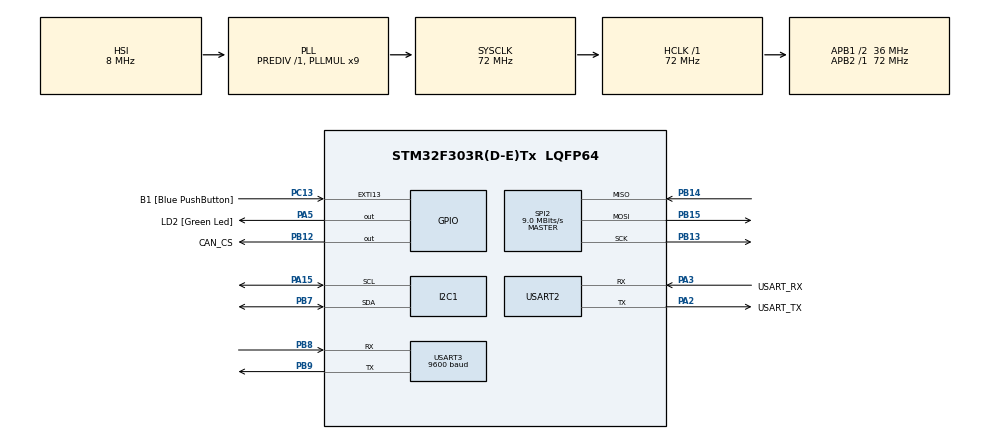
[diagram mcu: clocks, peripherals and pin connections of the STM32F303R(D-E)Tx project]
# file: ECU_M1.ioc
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Dma.I2C1_RX.0.Direction=DMA_PERIPH_TO_MEMORY
Dma.I2C1_RX.0.Instance=DMA1_Channel7
Dma.I2C1_RX.0.MemDataAlignment=DMA_MDATAALIGN_BYTE
Dma.I2C1_RX.0.MemInc=DMA_MINC_ENABLE
Dma.I2C1_RX.0.Mode=DMA_NORMAL
Dma.I2C1_RX.0.PeriphDataAlignment=DMA_PDATAALIGN_BYTE
Dma.I2C1_RX.0.PeriphInc=DMA_PINC_DISABLE
Dma.I2C1_RX.0.Priority=DMA_PRIORITY_LOW
Dma.I2C1_TX.1.Direction=DMA_MEMORY_TO_PERIPH
Dma.I2C1_TX.1.Instance=DMA1_Channel6
Dma.I2C1_TX.1.MemDataAlignment=DMA_MDATAALIGN_BYTE
Dma.I2C1_TX.1.MemInc=DMA_MINC_ENABLE
Dma.I2C1_TX.1.Mode=DMA_NORMAL
Dma.I2C1_TX.1.PeriphDataAlignment=DMA_PDATAALIGN_BYTE
Dma.I2C1_TX.1.PeriphInc=DMA_PINC_DISABLE
Dma.I2C1_TX.1.Priority=DMA_PRIORITY_LOW
Dma.Request0=I2C1_RX
Dma.Request1=I2C1_TX
FREERTOS.Tasks01=defaultTask,-3,128,StartDefaultTask,Default,NULL,Dynamic,NULL,NULL;RecepcionCAN,1,128,StartRecepcionCAN,Default,NULL,Dynamic,NULL,NULL;IMUprocess,0,128,StartIMUprocess,Default,NULL,Dynamic,NULL,NULL;UARTcom,-1,128,StartUARTcom,Default,NULL,Dynamic,NULL,NULL
FREERTOS.configUSE_NEWLIB_REENTRANT=1
Mcu.Family=STM32F3
Mcu.Name=STM32F303R(D-E)Tx
Mcu.Package=LQFP64
NVIC.DMA1_Channel6_IRQn=true\:5\:0\:false\:false\:true\:true\:false\:true\:true
NVIC.DMA1_Channel7_IRQn=true\:5\:0\:false\:false\:true\:true\:false\:true\:true
NVIC.PriorityGroup=NVIC_PRIORITYGROUP_4
NVIC.TIM1_UP_TIM16_IRQn=true\:15\:0\:false\:false\:true\:false\:false\:true\:true
NVIC.TimeBase=TIM1_UP_TIM16_IRQn
NVIC.TimeBaseIP=TIM1
PA13.GPIO_Label=TMS
PA13.Mode=Serial_Wire
PA13.Signal=SYS_JTMS-SWDIO
PA14.GPIO_Label=TCK
PA14.Mode=Serial_Wire
PA14.Signal=SYS_JTCK-SWCLK
PA15.GPIO_Pu=GPIO_PULLUP
PA15.Mode=I2C
PA15.Signal=I2C1_SCL
PA2.GPIO_Label=USART_TX
PA2.GPIO_Mode=GPIO_MODE_AF_PP
PA2.GPIO_PuPd=GPIO_NOPULL
PA2.GPIO_Speed=GPIO_SPEED_FREQ_LOW
PA2.Mode=Asynchronous
PA2.Signal=USART2_TX
PA3.GPIO_Label=USART_RX
PA3.GPIO_Mode=GPIO_MODE_AF_PP
PA3.GPIO_PuPd=GPIO_NOPULL
PA3.GPIO_Speed=GPIO_SPEED_FREQ_LOW
PA3.Mode=Asynchronous
PA3.Signal=USART2_RX
PA5.GPIO_Label=LD2 [Green Led]
PA5.GPIO_Mode=GPIO_MODE_OUTPUT_PP
PA5.GPIO_PuPd=GPIO_NOPULL
PA5.GPIO_Speed=GPIO_SPEED_FREQ_LOW
PA5.Signal=GPIO_Output
PB12.GPIO_Label=CAN_CS
PB12.PinState=GPIO_PIN_SET
PB12.Signal=GPIO_Output
PB13.Mode=Full_Duplex_Master
PB13.Signal=SPI2_SCK
PB14.GPIO_PuPd=GPIO_PULLDOWN
PB14.Mode=Full_Duplex_Master
PB14.Signal=SPI2_MISO
PB15.Mode=Full_Duplex_Master
PB15.Signal=SPI2_MOSI
PB7.GPIO_Pu=GPIO_PULLUP
PB7.Mode=I2C
PB7.Signal=I2C1_SDA
PB8.Mode=Asynchronous
PB8.Signal=USART3_RX
PB9.Mode=Asynchronous
PB9.Signal=USART3_TX
PC13.GPIO_Label=B1 [Blue PushButton]
PC13.GPIO_ModeDefaultEXTI=GPIO_MODE_IT_FALLING
PC13.Signal=GPXTI13
PF0-OSC_IN.Mode=HSE-External-Oscillator
PF0-OSC_IN.Signal=RCC_OSC_IN
PF1-OSC_OUT.Mode=HSE-External-Oscillator
PF1-OSC_OUT.Signal=RCC_OSC_OUT
ProjectManager.HeapSize=0x200
ProjectManager.StackSize=0x400
ProjectManager.TargetToolchain=STM32CubeIDE
RCC.AHBFreq_Value=72000000
RCC.APB1CLKDivider=RCC_HCLK_DIV2
RCC.APB1Freq_Value=36000000
RCC.APB1TimFreq_Value=72000000
RCC.APB2Freq_Value=72000000
RCC.APB2TimFreq_Value=72000000
RCC.CortexFreq_Value=72000000
RCC.HCLKFreq_Value=72000000
RCC.HSE_VALUE=8000000
RCC.HSI_VALUE=8000000
RCC.LSE_VALUE=32768
RCC.PLLM=8
RCC.PLLMUL=RCC_PLL_MUL9
RCC.PLLN=336
RCC.PLLP=RCC_PLLP_DIV4
RCC.PLLQ=7
RCC.RCC_PLLsource_Clock_Source_FROM_HSE=RCC_HSE_PREDIV_DIV2
RCC.SYSCLKFreq_VALUE=72000000
RCC.SYSCLKSourceVirtual=RCC_SYSCLKSOURCE_PLLCLK
RCC.USBFreq_Value=72000000
SPI2.BaudRatePrescaler=SPI_BAUDRATEPRESCALER_4
SPI2.CalculateBaudRate=9.0 MBits/s
SPI2.DataSize=SPI_DATASIZE_8BIT
SPI2.Direction=SPI_DIRECTION_2LINES
SPI2.Mode=SPI_MODE_MASTER
SPI2.VirtualType=VM_MASTER
STMicroelectronics.X-CUBE-ALGOBUILD.1.3.0.LibraryCcDSPOoLibraryJjDSPOoLibrary=true
TIM17.Period=999
USART2.VirtualMode-Asynchronous=VM_ASYNC
USART3.BaudRate=9600
USART3.VirtualMode-Asynchronous=VM_ASYNC
VP_FREERTOS_VS_CMSIS_V1.Mode=CMSIS_V1
VP_STMicroelectronics.X-CUBE-ALGOBUILD_VS_DSPOoLibraryJjLibrary_1.3.0_1.3.0.Mode=DSPOoLibraryJjLibrary
VP_SYS_VS_tim1.Mode=TIM1
VP_TIM17_VS_ClockSourceINT.Mode=Enable_Timer
board=NUCLEO-F303RE

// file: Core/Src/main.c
/* USER CODE BEGIN Header */
/**
  ******************************************************************************
  * @file           : main.c
  * @brief          : Main program body
  ******************************************************************************
  * @attention
  *
  * Copyright (c) 2023 STMicroelectronics.
  * All rights reserved.
  *
  * This software is licensed under terms that can be found in the LICENSE file
  * in the root directory of this software component.
  * If no LICENSE file comes with this software, it is provided AS-IS.
  *
  ******************************************************************************
  */
/* USER CODE END Header */
#include "main.h"
#include "cmsis_os.h"
#include "dma.h"
#include "i2c.h"
#include "spi.h"
#include "tim.h"
#include "usart.h"
#include "gpio.h"

void SystemClock_Config(void);
void MX_FREERTOS_Init(void);

int main(void)
{

  /* MCU Configuration--------------------------------------------------------*/

  /* Reset of all peripherals, Initializes the Flash interface and the Systick. */
  HAL_Init();

  /* Configure the system clock */
  SystemClock_Config();

  /* Initialize all configured peripherals */
  MX_GPIO_Init();
  MX_DMA_Init();
  MX_USART2_UART_Init();
  MX_SPI2_Init();
  MX_I2C1_Init();
  MX_TIM17_Init();
  MX_USART3_UART_Init();
  /* USER CODE BEGIN 2 */
  CANSPI_Initialize();
  BNO055_Init_I2C(&hi2c1);
  /* USER CODE END 2 */

  /* Call init function for freertos objects (in freertos.c) */
  MX_FREERTOS_Init();

  /* Start scheduler */
  osKernelStart();

  /* We should never get here as control is now taken by the scheduler */
  /* Infinite loop */
  while (1)
  {

  }
}

void SystemClock_Config(void)
{
  RCC_OscInitTypeDef RCC_OscInitStruct = {0};
  RCC_ClkInitTypeDef RCC_ClkInitStruct = {0};
  RCC_PeriphCLKInitTypeDef PeriphClkInit = {0};

  /** Initializes the RCC Oscillators according to the specified parameters
  * in the RCC_OscInitTypeDef structure.
  */
  RCC_OscInitStruct.OscillatorType = RCC_OSCILLATORTYPE_HSI;
  RCC_OscInitStruct.HSIState = RCC_HSI_ON;
  RCC_OscInitStruct.HSICalibrationValue = RCC_HSICALIBRATION_DEFAULT;
  RCC_OscInitStruct.PLL.PLLState = RCC_PLL_ON;
  RCC_OscInitStruct.PLL.PLLSource = RCC_PLLSOURCE_HSI;
  RCC_OscInitStruct.PLL.PLLMUL = RCC_PLL_MUL9;
  RCC_OscInitStruct.PLL.PREDIV = RCC_PREDIV_DIV1;
  if (HAL_RCC_OscConfig(&RCC_OscInitStruct) != HAL_OK)
  {
    Error_Handler();
  }

  /** Initializes the CPU, AHB and APB buses clocks
  */
  RCC_ClkInitStruct.ClockType = RCC_CLOCKTYPE_HCLK|RCC_CLOCKTYPE_SYSCLK
                              |RCC_CLOCKTYPE_PCLK1|RCC_CLOCKTYPE_PCLK2;
  RCC_ClkInitStruct.SYSCLKSource = RCC_SYSCLKSOURCE_PLLCLK;
  RCC_ClkInitStruct.AHBCLKDivider = RCC_SYSCLK_DIV1;
  RCC_ClkInitStruct.APB1CLKDivider = RCC_HCLK_DIV2;
  RCC_ClkInitStruct.APB2CLKDivider = RCC_HCLK_DIV1;

  if (HAL_RCC_ClockConfig(&RCC_ClkInitStruct, FLASH_LATENCY_2) != HAL_OK)
  {
    Error_Handler();
  }
  PeriphClkInit.PeriphClockSelection = RCC_PERIPHCLK_USART2|RCC_PERIPHCLK_USART3
                              |RCC_PERIPHCLK_I2C1|RCC_PERIPHCLK_TIM17;
  PeriphClkInit.Usart2ClockSelection = RCC_USART2CLKSOURCE_PCLK1;
  PeriphClkInit.Usart3ClockSelection = RCC_USART3CLKSOURCE_PCLK1;
  PeriphClkInit.I2c1ClockSelection = RCC_I2C1CLKSOURCE_HSI;
  PeriphClkInit.Tim17ClockSelection = RCC_TIM17CLK_HCLK;
  if (HAL_RCCEx_PeriphCLKConfig(&PeriphClkInit) != HAL_OK)
  {
    Error_Handler();
  }
}

void HAL_TIM_PeriodElapsedCallback(TIM_HandleTypeDef *htim)
{
  if (htim->Instance == TIM1) {
    HAL_IncTick();
  }
}

void Error_Handler(void)
{
  __disable_irq();
  while (1)
  {
  }
}

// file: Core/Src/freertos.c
/* USER CODE BEGIN Header */
/**
  ******************************************************************************
  * File Name          : freertos.c
  * Description        : Code for freertos applications
  ******************************************************************************
  * @attention
  *
  * Copyright (c) 2023 STMicroelectronics.
  * All rights reserved.
  *
  * This software is licensed under terms that can be found in the LICENSE file
  * in the root directory of this software component.
  * If no LICENSE file comes with this software, it is provided AS-IS.
  *
  ******************************************************************************
  */
/* USER CODE END Header */

#include "FreeRTOS.h"
#include "task.h"
#include "main.h"
#include "cmsis_os.h"

/* USER CODE BEGIN Includes */
#include "usart.h"
#include "i2c.h"
#include "arm_math.h"
/* USER CODE END Includes */

/* USER CODE BEGIN PD */
#define SAMPLE_TIME 0.01
#define NUM_TAPS 21
#define BLOCK_SIZE 32
/* USER CODE END PD */

/* USER CODE BEGIN Variables */
uCAN_MSG txMessage;
uCAN_MSG rxMessage;

char message[100];
uint8_t	imu_readings[IMU_NUMBER_OF_BYTES];
int16_t 	accel_data[3];
float		acc_x, acc_y, acc_z;
int		acc_x_int, acc_y_int, acc_z_int;

const float32_t firCoeffs[NUM_TAPS] = {
    -0.0162988415008265,
    -0.0709271864972703,
    0.0225851291371347,
    0.0371278894358235,
    -0.0134217682863348,
    -0.0589846533854996,
    0.0145099553645701,
    0.103203330310147,
    -0.0148779327102912,
    -0.317339878494921,
    0.515006915991497,
    -0.317339878494921,
    -0.0148779327102912,
    0.103203330310147,
    0.0145099553645701,
    -0.0589846533854996,
    -0.0134217682863348,
    0.0371278894358235,
    0.0225851291371347,
    -0.0709271864972703,
    -0.0162988415008265
};
float32_t firState[NUM_TAPS + BLOCK_SIZE - 1];  // Filter state buffer
arm_fir_instance_f32 FIR_Filter;
float32_t inputBuffer[BLOCK_SIZE];
float32_t outputBuffer[BLOCK_SIZE];

/* USER CODE END Variables */
osThreadId defaultTaskHandle;
osThreadId RecepcionCANHandle;
osThreadId IMUprocessHandle;
osThreadId UARTcomHandle;

/* USER CODE BEGIN FunctionPrototypes */
void IMU_acceleration(void);
void IMU_dsp(void);
void acceleration_data_conversion(float acc_x, float acc_y, float acc_z, char *message);

/* USER CODE END FunctionPrototypes */

void StartDefaultTask(void const * argument);
void StartRecepcionCAN(void const * argument);
void StartIMUprocess(void const * argument);
void StartUARTcom(void const * argument);

void MX_FREERTOS_Init(void); /* (MISRA C 2004 rule 8.1) */

/* GetIdleTaskMemory prototype (linked to static allocation support) */
void vApplicationGetIdleTaskMemory( StaticTask_t **ppxIdleTaskTCBBuffer, StackType_t **ppxIdleTaskStackBuffer, uint32_t *pulIdleTaskStackSize );

/* USER CODE BEGIN GET_IDLE_TASK_MEMORY */
static StaticTask_t xIdleTaskTCBBuffer;
static StackType_t xIdleStack[configMINIMAL_STACK_SIZE];

void vApplicationGetIdleTaskMemory( StaticTask_t **ppxIdleTaskTCBBuffer, StackType_t **ppxIdleTaskStackBuffer, uint32_t *pulIdleTaskStackSize )
{
  *ppxIdleTaskTCBBuffer = &xIdleTaskTCBBuffer;
  *ppxIdleTaskStackBuffer = &xIdleStack[0];
  *pulIdleTaskStackSize = configMINIMAL_STACK_SIZE;
  /* place for user code */
}
/* USER CODE END GET_IDLE_TASK_MEMORY */

void MX_FREERTOS_Init(void) {
  /* USER CODE BEGIN Init */
	// Initialize FIR filter
	arm_fir_init_f32(&FIR_Filter, NUM_TAPS, (float32_t*)firCoeffs, firState, BLOCK_SIZE);
  /* USER CODE END Init */

  /* Create the thread(s) */
  /* definition and creation of defaultTask */
  osThreadDef(defaultTask, StartDefaultTask, osPriorityIdle, 0, 128);
  defaultTaskHandle = osThreadCreate(osThread(defaultTask), NULL);

  /* definition and creation of RecepcionCAN */
  osThreadDef(RecepcionCAN, StartRecepcionCAN, osPriorityAboveNormal, 0, 128);
  RecepcionCANHandle = osThreadCreate(osThread(RecepcionCAN), NULL);

  /* definition and creation of IMUprocess */
  osThreadDef(IMUprocess, StartIMUprocess, osPriorityNormal, 0, 128);
  IMUprocessHandle = osThreadCreate(osThread(IMUprocess), NULL);

  /* definition and creation of UARTcom */
  osThreadDef(UARTcom, StartUARTcom, osPriorityBelowNormal, 0, 128);
  UARTcomHandle = osThreadCreate(osThread(UARTcom), NULL);

}

void StartDefaultTask(void const * argument)
{
  /* USER CODE BEGIN StartDefaultTask */
  /* Infinite loop */
  for(;;)
  {
	/*int v = 0;
	char message[50];
	snprintf(message, sizeof(message), "Default: %u\r\n", v);
	//HAL_UART_Transmit(&huart2, (uint8_t *)message, strlen(message), HAL_MAX_DELAY);*/
    osDelay(1);
  }
  /* USER CODE END StartDefaultTask */
}

void StartRecepcionCAN(void const * argument)
{
  /* USER CODE BEGIN StartRecepcionCAN */
  /* Infinite loop */
  for(;;)
  {
	//int v = 1;
	char message[50];
	//snprintf(message, sizeof(message), "CAN: %u\r\n", v);
	//HAL_UART_Transmit(&huart2, (uint8_t *)message, strlen(message), HAL_MAX_DELAY);
	strcpy(message, "Enviado\n");

	if(CANSPI_Receive(&rxMessage))
	 {
		txMessage.frame.idType = rxMessage.frame.idType;
		txMessage.frame.id = rxMessage.frame.id;
		txMessage.frame.dlc = rxMessage.frame.dlc;
		txMessage.frame.data0++;
		txMessage.frame.data1 = rxMessage.frame.data1;
		txMessage.frame.data2 = rxMessage.frame.data2;
		txMessage.frame.data3 = rxMessage.frame.data3;
		txMessage.frame.data4 = rxMessage.frame.data4;
		txMessage.frame.data5 = rxMessage.frame.data5;
		txMessage.frame.data6 = rxMessage.frame.data6;
		txMessage.frame.data7 = rxMessage.frame.data7;
		CANSPI_Transmit(&txMessage);

		snprintf(message, sizeof(message),
			 "CAN ID: %lu, DLC: %u, Data: %u %u %u %u %u %u %u %u\r\n",
			 rxMessage.frame.id, rxMessage.frame.dlc,
			 rxMessage.frame.data0, rxMessage.frame.data1, rxMessage.frame.data2,
			 rxMessage.frame.data3, rxMessage.frame.data4, rxMessage.frame.data5,
			 rxMessage.frame.data6, rxMessage.frame.data7);
		HAL_UART_Transmit(&huart2, (uint8_t *)message, strlen(message), HAL_MAX_DELAY);

	 }
	osDelay(100);
  }
  /* USER CODE END StartRecepcionCAN */
}

void StartIMUprocess(void const * argument)
{
  /* USER CODE BEGIN StartIMUprocess */
	static size_t bufferIndex = 0; // Keeps track of the current position in the buffer
  /* Infinite loop */
  for(;;)
  {

	 IMU_acceleration();
	 inputBuffer[bufferIndex] = acc_z; // Store the current sample in the buffer
	 bufferIndex++; // Move to the next position in the buffer

	 if (bufferIndex >= BLOCK_SIZE) {
		 bufferIndex = 0; // Reset buffer index
		 IMU_dsp();
		 acceleration_data_conversion(acc_x, acc_y, outputBuffer[BLOCK_SIZE], message); //Sends the data
	 }

	 osDelay(2);
  }
  /* USER CODE END StartIMUprocess */
}

void StartUARTcom(void const * argument)
{
  /* USER CODE BEGIN StartUARTcom */
  /* Infinite loop */
  for(;;)
  {
	  char message[50];
	  int val = 50;
	  //snprintf(message, sizeof(message), "%u", rxMessage.frame.data0);
	  snprintf(message, sizeof(message), "%u", val);
	  HAL_UART_Transmit(&huart3, (uint8_t *)message, strlen(message), HAL_MAX_DELAY);
	  osDelay(200);
  }
  /* USER CODE END StartUARTcom */
}

/* USER CODE BEGIN Application */
void IMU_acceleration() {
    uint8_t imu_readings[IMU_NUMBER_OF_BYTES];
    GetAccelData(&hi2c1, imu_readings);

    int16_t accel_data[3];
    accel_data[0] = ((int16_t)(imu_readings[1] << 8) | imu_readings[0]);
    accel_data[1] = ((int16_t)(imu_readings[3] << 8) | imu_readings[2]);
    accel_data[2] = ((int16_t)(imu_readings[5] << 8) | imu_readings[4]);

    acc_x = ((float)accel_data[0]) / 100.0f;
    acc_y = ((float)accel_data[1]) / 100.0f;
    acc_z = ((float)accel_data[2]) / 100.0f;
}

void IMU_dsp(void) {
	arm_fir_f32(&FIR_Filter, inputBuffer, outputBuffer, BLOCK_SIZE);
}

void acceleration_data_conversion(float acc_x, float acc_y, float acc_z, char *message) {
    // Calculate G-forces, roll, pitch, and velocity
    float g_force_x = acc_x / 9.81f;
    float g_force_y = acc_y / 9.81f;
    float g_force_z = acc_z / 9.81f;

    float roll = atan2(acc_y, acc_z) * 180.0f / PI;
    float pitch = atan2(-acc_x, sqrt(acc_y * acc_y + acc_z * acc_z)) * 180.0f / PI;

    static float velocity_x = 0.0f, velocity_y = 0.0f, velocity_z = 0.0f;
    velocity_x += acc_x * SAMPLE_TIME;
    velocity_y += acc_y * SAMPLE_TIME;
    velocity_z += acc_z * SAMPLE_TIME;

    sprintf(message, "GX: %.2f GY: %.2f GZ: %.2f Roll: %.2f Pitch: %.2f VX: %.2f VY: %.2f VZ: %.2f\r\n",
            g_force_x, g_force_y, g_force_z,
            roll, pitch,
            velocity_x, velocity_y, velocity_z);
}

/* USER CODE END Application */
